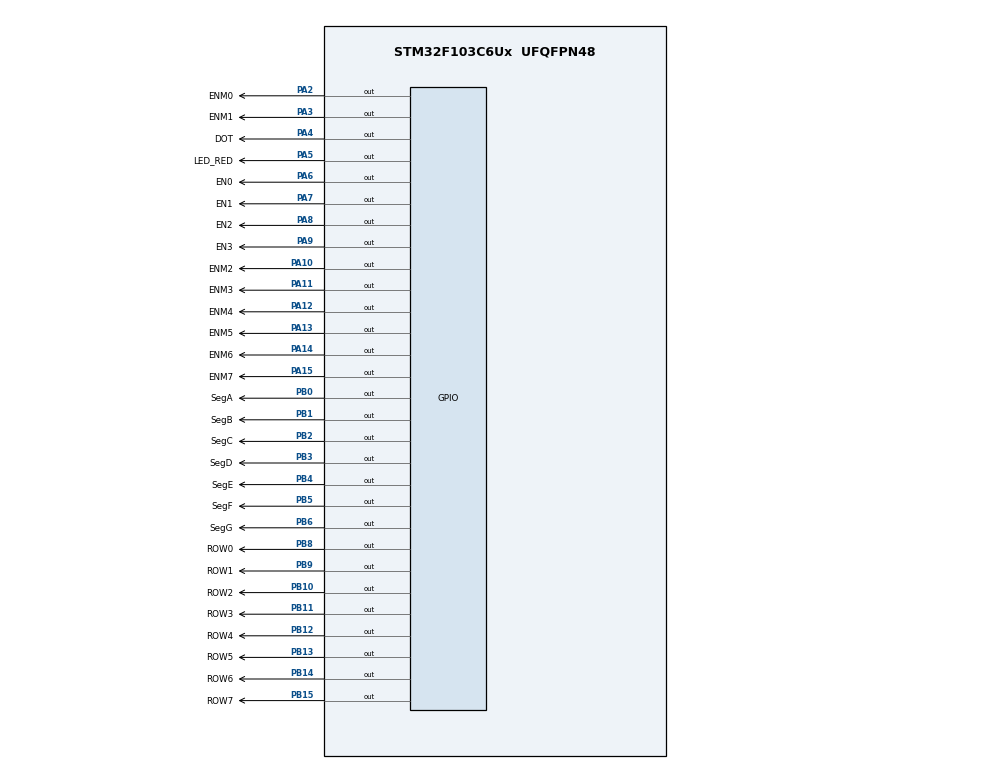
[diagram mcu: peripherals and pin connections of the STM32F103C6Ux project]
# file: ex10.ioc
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Mcu.Family=STM32F1
Mcu.Name=STM32F103C6Ux
Mcu.Package=UFQFPN48
NVIC.PriorityGroup=NVIC_PRIORITYGROUP_4
NVIC.TIM2_IRQn=true\:0\:0\:false\:false\:true\:true\:true
PA10.GPIO_Label=ENM2
PA10.Signal=GPIO_Output
PA11.GPIO_Label=ENM3
PA11.Signal=GPIO_Output
PA12.GPIO_Label=ENM4
PA12.Signal=GPIO_Output
PA13.GPIO_Label=ENM5
PA13.Signal=GPIO_Output
PA14.GPIO_Label=ENM6
PA14.Signal=GPIO_Output
PA15.GPIO_Label=ENM7
PA15.Signal=GPIO_Output
PA2.GPIO_Label=ENM0
PA2.Signal=GPIO_Output
PA3.GPIO_Label=ENM1
PA3.Signal=GPIO_Output
PA4.GPIO_Label=DOT
PA4.Signal=GPIO_Output
PA5.GPIO_Label=LED_RED
PA5.Signal=GPIO_Output
PA6.GPIO_Label=EN0
PA6.Signal=GPIO_Output
PA7.GPIO_Label=EN1
PA7.Signal=GPIO_Output
PA8.GPIO_Label=EN2
PA8.Signal=GPIO_Output
PA9.GPIO_Label=EN3
PA9.Signal=GPIO_Output
PB0.GPIO_Label=SegA
PB0.Signal=GPIO_Output
PB1.GPIO_Label=SegB
PB1.Signal=GPIO_Output
PB10.GPIO_Label=ROW2
PB10.Signal=GPIO_Output
PB11.GPIO_Label=ROW3
PB11.Signal=GPIO_Output
PB12.GPIO_Label=ROW4
PB12.Signal=GPIO_Output
PB13.GPIO_Label=ROW5
PB13.Signal=GPIO_Output
PB14.GPIO_Label=ROW6
PB14.Signal=GPIO_Output
PB15.GPIO_Label=ROW7
PB15.Signal=GPIO_Output
PB2.GPIO_Label=SegC
PB2.Signal=GPIO_Output
PB3.GPIO_Label=SegD
PB3.Signal=GPIO_Output
PB4.GPIO_Label=SegE
PB4.Signal=GPIO_Output
PB5.GPIO_Label=SegF
PB5.Signal=GPIO_Output
PB6.GPIO_Label=SegG
PB6.Signal=GPIO_Output
PB8.GPIO_Label=ROW0
PB8.Signal=GPIO_Output
PB9.GPIO_Label=ROW1
PB9.Signal=GPIO_Output
ProjectManager.HeapSize=0x200
ProjectManager.StackSize=0x400
ProjectManager.TargetToolchain=STM32CubeIDE
RCC.APB1Freq_Value=8000000
RCC.APB2Freq_Value=8000000
TIM2.Period=9
TIM2.Prescaler=7999
VP_SYS_VS_ND.Mode=No_Debug
VP_TIM2_VS_ClockSourceINT.Mode=Internal
board=custom

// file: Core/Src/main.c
/* USER CODE BEGIN Header */
/**
  ******************************************************************************
  * @file           : main.c
  * @brief          : Main program body
  ******************************************************************************
  * @attention
  *
  * <h2><center>&copy; Copyright (c) 2023 STMicroelectronics.
  * All rights reserved.</center></h2>
  *
  * This software component is licensed by ST under BSD 3-Clause license,
  * the "License"; You may not use this file except in compliance with the
  * License. You may obtain a copy of the License at:
  *                        opensource.org/licenses/BSD-3-Clause
  *
  ******************************************************************************
  */
/* USER CODE END Header */
#include "main.h"

/* USER CODE BEGIN Includes */
#include "sofware_timer.h"
#include "myLib.h"
/* USER CODE END Includes */

TIM_HandleTypeDef htim2;

void SystemClock_Config(void);
static void MX_GPIO_Init(void);
static void MX_TIM2_Init(void);

int main(void)
{

  /* MCU Configuration--------------------------------------------------------*/

  /* Reset of all peripherals, Initializes the Flash interface and the Systick. */
  HAL_Init();

  /* Configure the system clock */
  SystemClock_Config();

  /* Initialize all configured peripherals */
  MX_GPIO_Init();
  MX_TIM2_Init();
  /* USER CODE BEGIN 2 */
  void clear() {
	  HAL_GPIO_WritePin(GPIOB, ROW0_Pin, SET);
	  HAL_GPIO_WritePin(GPIOB, ROW1_Pin, SET);
	  HAL_GPIO_WritePin(GPIOB, ROW2_Pin, SET);
	  HAL_GPIO_WritePin(GPIOB, ROW3_Pin, SET);
	  HAL_GPIO_WritePin(GPIOB, ROW4_Pin, SET);
	  HAL_GPIO_WritePin(GPIOB, ROW5_Pin, SET);
	  HAL_GPIO_WritePin(GPIOB, ROW6_Pin, SET);
	  HAL_GPIO_WritePin(GPIOB, ROW7_Pin, SET);

	  HAL_GPIO_WritePin(GPIOA, ENM0_Pin, SET);
	  HAL_GPIO_WritePin(GPIOA, ENM1_Pin, SET);
	  HAL_GPIO_WritePin(GPIOA, ENM2_Pin, SET);
	  HAL_GPIO_WritePin(GPIOA, ENM3_Pin, SET);
	  HAL_GPIO_WritePin(GPIOA, ENM4_Pin, SET);
	  HAL_GPIO_WritePin(GPIOA, ENM5_Pin, SET);
	  HAL_GPIO_WritePin(GPIOA, ENM6_Pin, SET);
	  HAL_GPIO_WritePin(GPIOA, ENM7_Pin, SET);
  }
  HAL_TIM_Base_Start_IT(&htim2);
  void enState(uint8_t enIndex) {
  	HAL_GPIO_WritePin(GPIOA, GPIO_PIN_(6), SET);
  	HAL_GPIO_WritePin(GPIOA, GPIO_PIN_(7), SET);
  	HAL_GPIO_WritePin(GPIOA, GPIO_PIN_(8), SET);
  	HAL_GPIO_WritePin(GPIOA, GPIO_PIN_(9), SET);
  	HAL_GPIO_WritePin(GPIOA, GPIO_PIN_(enIndex + 6), RESET);
  }
  const uint8_t MAX_LED = 4;
  uint8_t index_led = 0;
  uint8_t led_buffer[4] = {1, 5, 0, 8};

  const int MAX_LED_MATRIX = 8;
  uint8_t index_led_matrix = 0;
  uint8_t matrix_buffer[8] = {0x18, 0x24, 0x42, 0x42, 0x7E, 0x42, 0x42, 0x42};

  void update7SEG(int index){
	  enState(index);
      display7SEG1(led_buffer[index]);
  }

  uint8_t hour = 15 , minute = 8 , second = 50;

  void updateClockBuffer() {
	  led_buffer[0] = hour / 10;
	  led_buffer[1] = hour % 10;
	  led_buffer[2] = minute / 10;
	  led_buffer[3] = minute % 10;
}
  void scanRow() {
	  for (uint8_t i = 0; i < MAX_LED_MATRIX; i++) {
		  if ((matrix_buffer[i] >> (7 - index_led_matrix + 1)) & 1)
			  HAL_GPIO_WritePin(GPIOB, GPIO_PIN_(i + 8), RESET);
	  }
  }
  void updateLEDMatrix(int index){
	  clear();
	  if (index == 0)
		  HAL_GPIO_WritePin(GPIOA, ENM0_Pin, RESET);
	  else if (index == 1)
		  HAL_GPIO_WritePin(GPIOA, ENM1_Pin, RESET);
	  else if (index >= 2)
		  HAL_GPIO_WritePin(GPIOA, GPIO_PIN_(index + 8), RESET);
	  scanRow();
  }
  void updateMatrixBuffer() {
	  uint8_t temp;
	  for (int i = 0; i < MAX_LED_MATRIX; i++) {
		  temp = matrix_buffer[i] & 1;
		  matrix_buffer[i] = matrix_buffer[i] >> 1;
		  if (temp)
			  matrix_buffer[i] = matrix_buffer[i] | 128; //b'10000000
	  }
  }

  setTimer(0, 100); //0: red led; 1: 4 7-seg leds; 2: 2 middle led; 3: time counter; 4: matrix led
  setTimer(1, 10);
  setTimer(2, 100);
  setTimer(3, 100);
  setTimer(4, 100);
  /* USER CODE END 2 */

  /* Infinite loop */
  /* USER CODE BEGIN WHILE */
  while (1)
  {
	  if (timerFlag[0] == 1) {
		  setTimer(0, 100);
		  HAL_GPIO_TogglePin(GPIOA, LED_RED_Pin);
	  }
	  if (timerFlag[1] == 1) {
		  setTimer(1, 10);
		  update7SEG(index_led++);
		  if (index_led >= MAX_LED)
			  index_led = 0;
	  }
	  if (timerFlag[2] == 1) {
		  setTimer(2, 100);
		  HAL_GPIO_TogglePin(GPIOA, DOT_Pin);
	  }
	  if (timerFlag[3] == 1) {
		  setTimer(3, 100);
		  second++;
		  if (second >= 60){
		      second = 0;
		      minute++;
		  }
		  if(minute >= 60){
		      minute = 0;
		      hour++;
		  }
		  if(hour >= 24){
		      hour = 0;
		  }
		  updateClockBuffer();
	  }
	  if (timerFlag[4] == 1) {
		  setTimer(4, 100);
		  updateLEDMatrix(index_led_matrix++);
		  if (index_led_matrix >= MAX_LED_MATRIX) {
			  index_led_matrix = 0;
			  updateMatrixBuffer();
		  }
	  }
    /* USER CODE END WHILE */

  }
}

void SystemClock_Config(void)
{
  RCC_OscInitTypeDef RCC_OscInitStruct = {0};
  RCC_ClkInitTypeDef RCC_ClkInitStruct = {0};

  /** Initializes the RCC Oscillators according to the specified parameters
  * in the RCC_OscInitTypeDef structure.
  */
  RCC_OscInitStruct.OscillatorType = RCC_OSCILLATORTYPE_HSI;
  RCC_OscInitStruct.HSIState = RCC_HSI_ON;
  RCC_OscInitStruct.HSICalibrationValue = RCC_HSICALIBRATION_DEFAULT;
  RCC_OscInitStruct.PLL.PLLState = RCC_PLL_NONE;
  if (HAL_RCC_OscConfig(&RCC_OscInitStruct) != HAL_OK)
  {
    Error_Handler();
  }
  /** Initializes the CPU, AHB and APB buses clocks
  */
  RCC_ClkInitStruct.ClockType = RCC_CLOCKTYPE_HCLK|RCC_CLOCKTYPE_SYSCLK
                              |RCC_CLOCKTYPE_PCLK1|RCC_CLOCKTYPE_PCLK2;
  RCC_ClkInitStruct.SYSCLKSource = RCC_SYSCLKSOURCE_HSI;
  RCC_ClkInitStruct.AHBCLKDivider = RCC_SYSCLK_DIV1;
  RCC_ClkInitStruct.APB1CLKDivider = RCC_HCLK_DIV1;
  RCC_ClkInitStruct.APB2CLKDivider = RCC_HCLK_DIV1;

  if (HAL_RCC_ClockConfig(&RCC_ClkInitStruct, FLASH_LATENCY_0) != HAL_OK)
  {
    Error_Handler();
  }
}

static void MX_TIM2_Init(void)
{

  TIM_ClockConfigTypeDef sClockSourceConfig = {0};
  TIM_MasterConfigTypeDef sMasterConfig = {0};

  htim2.Instance = TIM2;
  htim2.Init.Prescaler = 7999;
  htim2.Init.CounterMode = TIM_COUNTERMODE_UP;
  htim2.Init.Period = 9;
  htim2.Init.ClockDivision = TIM_CLOCKDIVISION_DIV1;
  htim2.Init.AutoReloadPreload = TIM_AUTORELOAD_PRELOAD_DISABLE;
  if (HAL_TIM_Base_Init(&htim2) != HAL_OK)
  {
    Error_Handler();
  }
  sClockSourceConfig.ClockSource = TIM_CLOCKSOURCE_INTERNAL;
  if (HAL_TIM_ConfigClockSource(&htim2, &sClockSourceConfig) != HAL_OK)
  {
    Error_Handler();
  }
  sMasterConfig.MasterOutputTrigger = TIM_TRGO_RESET;
  sMasterConfig.MasterSlaveMode = TIM_MASTERSLAVEMODE_DISABLE;
  if (HAL_TIMEx_MasterConfigSynchronization(&htim2, &sMasterConfig) != HAL_OK)
  {
    Error_Handler();
  }

}

static void MX_GPIO_Init(void)
{
  GPIO_InitTypeDef GPIO_InitStruct = {0};

  /* GPIO Ports Clock Enable */
  __HAL_RCC_GPIOA_CLK_ENABLE();
  __HAL_RCC_GPIOB_CLK_ENABLE();

  /*Configure GPIO pin Output Level */
  HAL_GPIO_WritePin(GPIOA, ENM0_Pin|ENM1_Pin|DOT_Pin|LED_RED_Pin
                          |EN0_Pin|EN1_Pin|EN2_Pin|EN3_Pin
                          |ENM2_Pin|ENM3_Pin|ENM4_Pin|ENM5_Pin
                          |ENM6_Pin|ENM7_Pin, GPIO_PIN_RESET);

  /*Configure GPIO pin Output Level */
  HAL_GPIO_WritePin(GPIOB, SegA_Pin|SegB_Pin|SegC_Pin|ROW2_Pin
                          |ROW3_Pin|ROW4_Pin|ROW5_Pin|ROW6_Pin
                          |ROW7_Pin|SegD_Pin|SegE_Pin|SegF_Pin
                          |SegG_Pin|ROW0_Pin|ROW1_Pin, GPIO_PIN_RESET);

  /*Configure GPIO pins : ENM0_Pin ENM1_Pin DOT_Pin LED_RED_Pin
                           EN0_Pin EN1_Pin EN2_Pin EN3_Pin
                           ENM2_Pin ENM3_Pin ENM4_Pin ENM5_Pin
                           ENM6_Pin ENM7_Pin */
  GPIO_InitStruct.Pin = ENM0_Pin|ENM1_Pin|DOT_Pin|LED_RED_Pin
                          |EN0_Pin|EN1_Pin|EN2_Pin|EN3_Pin
                          |ENM2_Pin|ENM3_Pin|ENM4_Pin|ENM5_Pin
                          |ENM6_Pin|ENM7_Pin;
  GPIO_InitStruct.Mode = GPIO_MODE_OUTPUT_PP;
  GPIO_InitStruct.Pull = GPIO_NOPULL;
  GPIO_InitStruct.Speed = GPIO_SPEED_FREQ_LOW;
  HAL_GPIO_Init(GPIOA, &GPIO_InitStruct);

  /*Configure GPIO pins : SegA_Pin SegB_Pin SegC_Pin ROW2_Pin
                           ROW3_Pin ROW4_Pin ROW5_Pin ROW6_Pin
                           ROW7_Pin SegD_Pin SegE_Pin SegF_Pin
                           SegG_Pin ROW0_Pin ROW1_Pin */
  GPIO_InitStruct.Pin = SegA_Pin|SegB_Pin|SegC_Pin|ROW2_Pin
                          |ROW3_Pin|ROW4_Pin|ROW5_Pin|ROW6_Pin
                          |ROW7_Pin|SegD_Pin|SegE_Pin|SegF_Pin
                          |SegG_Pin|ROW0_Pin|ROW1_Pin;
  GPIO_InitStruct.Mode = GPIO_MODE_OUTPUT_PP;
  GPIO_InitStruct.Pull = GPIO_NOPULL;
  GPIO_InitStruct.Speed = GPIO_SPEED_FREQ_LOW;
  HAL_GPIO_Init(GPIOB, &GPIO_InitStruct);

}

/* USER CODE BEGIN 4 */
void HAL_TIM_PeriodElapsedCallback(TIM_HandleTypeDef *htim) {
	timerRun(0);
	timerRun(1);
	timerRun(2);
	timerRun(3);
	timerRun(4);
}
/* USER CODE END 4 */

void Error_Handler(void)
{
  __disable_irq();
  while (1)
  {
  }
}

/************************ (C) COPYRIGHT STMicroelectronics *****END OF FILE****/
